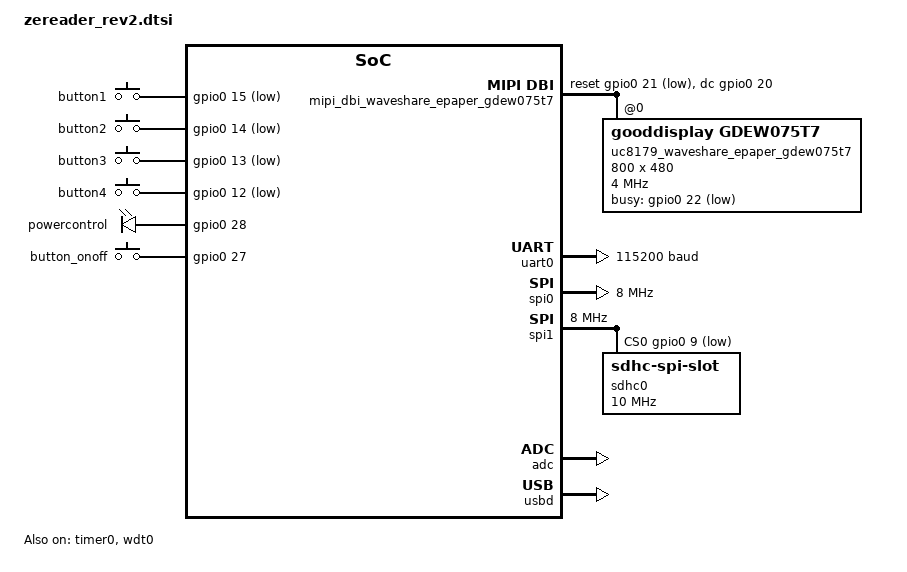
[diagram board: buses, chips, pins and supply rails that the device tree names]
// SPDX-FileCopyrightText: 2025 Anna-Lena Marx <mail@marx.engineer>
//
// SPDX-License-Identifier: MPL-2.0

#include <freq.h>

#include <zephyr/dt-bindings/i2c/i2c.h>
#include <zephyr/dt-bindings/pwm/pwm.h>
#include <zephyr/dt-bindings/input/input-event-codes.h>
#include <zephyr/dt-bindings/lvgl/lvgl.h>

#include "zereader_rev2-pinctrl.dtsi"

// TODO
// Not yet configured:
// SD_DAT1 		-> GP6
// SD_DAT2 		-> GP7
// SD_DETECT 	-> GP5
/ {
	chosen {
		zephyr,sram = &sram0;
		zephyr,flash = &flash0;
		zephyr,flash-controller = &qmi;
		zephyr,console = &uart0;
		zephyr,shell-uart = &uart0;
		zephyr,display = &uc8179_waveshare_epaper_gdew075t7;
	};

	aliases {
		watchdog0 = &wdt0;
		devicestatecontrol = &powercontrol;
	};

	mipi_dbi_waveshare_epaper_gdew075t7 {
		compatible = "zephyr,mipi-dbi-spi";
		spi-dev = <&spi0>; //spi@0 -> GPIO 16-19
		dc-gpios = <&gpio0 20 GPIO_ACTIVE_HIGH>;
		reset-gpios = <&gpio0 21 GPIO_ACTIVE_LOW>;
		write-only;
		#address-cells = <1>;
		#size-cells = <0>;

		uc8179_waveshare_epaper_gdew075t7: uc8179@0 {
			compatible = "gooddisplay,gdew075t7", "ultrachip,uc8179";
			mipi-max-frequency = <4000000>;
			reg = <0>;
			width = <800>;
			height = <480>;
			busy-gpios = <&gpio0 22 GPIO_ACTIVE_LOW>;

			softstart = [ 17 17 28 17  ];

			full {
				pwr = [ 07 07 3f 3f 09  ];
				cdi = <0x07>;
				tcon = <0x60>;
				pll = <0x30>;
			};

			partial {
				pwr = [ 07 07 3f 3f 09  ];
				cdi = <0x07>;
				pll = <0x3c>;
				vdcs = <0x08>;

				        lutc = [
					00 01 0E 00 00 01
					00 00 00 00 00 00
					00 00 00 00 00 00
					00 00 00 00 00 00
					00 00 00 00 00 00
					00 00 00 00 00 00
					00 00 00 00 00 00
					00 00
				];

				lutww = [
					00 01 0E 00 00 01
					00 00 00 00 00 00
					00 00 00 00 00 00
					00 00 00 00 00 00
					00 00 00 00 00 00
					00 00 00 00 00 00
					00 00 00 00 00 00
				];

				lutkw = [
					20 01 0E 00 00 01
					00 00 00 00 00 00
					00 00 00 00 00 00
					00 00 00 00 00 00
					00 00 00 00 00 00
					00 00 00 00 00 00
					00 00 00 00 00 00
				];

				lutwk = [
					10 01 0E 00 00 01
					00 00 00 00 00 00
					00 00 00 00 00 00
					00 00 00 00 00 00
					00 00 00 00 00 00
					00 00 00 00 00 00
					00 00 00 00 00 00
				];

				lutkk = [
					00 01 0E 00 00 01
					00 00 00 00 00 00
					00 00 00 00 00 00
					00 00 00 00 00 00
					00 00 00 00 00 00
					00 00 00 00 00 00
					00 00 00 00 00 00
				];
			};
		};
	};

	keys: keys {
		compatible = "gpio-keys";
		button1: button1 {
			gpios = <&gpio0 15 GPIO_ACTIVE_LOW>;
			zephyr,code = <INPUT_KEY_1>;
		};

		button2: button2 {
			gpios = <&gpio0 14 GPIO_ACTIVE_LOW>;
			zephyr,code = <INPUT_KEY_2>;
		};

		button3: button3 {
			gpios = <&gpio0 13 GPIO_ACTIVE_LOW>;
			zephyr,code = <INPUT_KEY_3>;
		};

		button4: button4 {
			gpios = <&gpio0 12 GPIO_ACTIVE_LOW>;
			zephyr,code = <INPUT_KEY_4>;
		};
	};

	lvgl_button_input: lvgl_button_input {
		compatible = "zephyr,lvgl-button-input";
		input = <&keys>;
		input-codes = <INPUT_KEY_1 INPUT_KEY_2 INPUT_KEY_3 INPUT_KEY_4>;
		coordinates = <10 470>, <360 470>, <450 470>, <770 470>;
	};

	powerpin: powerpin {
    compatible = "gpio-leds";
    powercontrol: powercontrol {
      gpios = <&gpio0 28 GPIO_ACTIVE_HIGH>;
    };
  };

  onoffkey: onoffkey {
    compatible = "gpio-keys";
    button_onoff: button_onoff {
      gpios = <&gpio0 27 GPIO_ACTIVE_HIGH>;
      zephyr,code = <INPUT_KEY_A>;
    };
  };

  longpress: longpress {
    input = <&onoffkey>;
    compatible = "zephyr,input-longpress";
    input-codes = <INPUT_KEY_A>;
    // short-codes = <INPUT_KEY_B>;
    long-codes = <INPUT_KEY_X>;
    long-delay-ms = <4000>;
  };
};

&flash0 {
	reg = <0x10000000 DT_SIZE_M(4)>;
};

&uart0 {
	current-speed = <115200>;
	status = "okay";
	pinctrl-0 = <&uart0_default>;
	pinctrl-names = "default";
};

gpio0_lo: &gpio0 {
	status = "okay";
};

&spi0 {
	clock-frequency = <DT_FREQ_M(8)>;
	pinctrl-0 = <&spi0_default>;
	pinctrl-names = "default";
	status = "okay";
};

&spi1 {
	clock-frequency = <DT_FREQ_M(8)>;
	pinctrl-0 = <&spi1_zereader_v2>;
	pinctrl-names = "default";
	status = "okay";

	cs-gpios = <&gpio0 9 GPIO_ACTIVE_LOW>;
	sdhc0: sdhc@0 {
		compatible = "zephyr,sdhc-spi-slot";
		reg = <0>;
		status = "okay";
		mmc {
			compatible = "zephyr,sdmmc-disk";
			disk-name = "SD";
			status = "okay";
		};
		spi-max-frequency = <10000000>;
	};
};

&i2c0 {
	clock-frequency = <I2C_BITRATE_STANDARD>;
	pinctrl-0 = <&i2c0_default>;
	pinctrl-names = "default";
	status = "disabled";
};

&i2c1 {
	clock-frequency = <I2C_BITRATE_STANDARD>;
	pinctrl-0 = <&i2c1_default>;
	pinctrl-names = "default";
	status = "disabled";
};

&adc {
	pinctrl-0 = <&adc_default>;
	pinctrl-names = "default";
	status = "okay";
};

&pwm {
	pinctrl-0 = <&pwm_ch4b_default>;
	pinctrl-names = "default";
	divider-int-0 = <255>;
};

&timer0 {
	status = "okay";
};

&wdt0 {
	status = "okay";
};

zephyr_udc0: &usbd {
	status = "okay";
};

pico_serial: &uart0 {};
